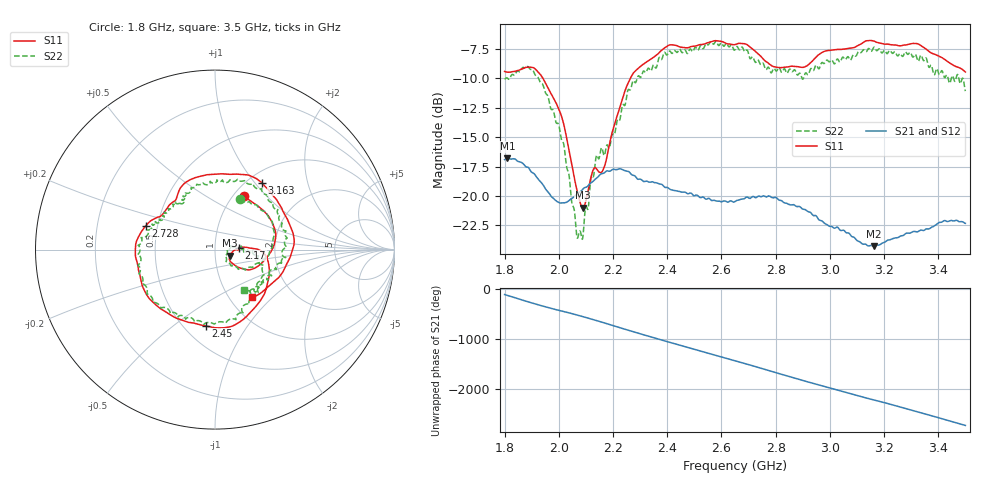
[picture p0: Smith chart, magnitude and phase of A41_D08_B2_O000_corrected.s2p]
! Created with skrf 1.9.0 (http://scikit-rf.org).
# Hz S RI R 50.0
!freq ReS11 ImS11 ReS21 ImS21 ReS12 ImS12 ReS22 ImS22
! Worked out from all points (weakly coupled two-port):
!   1601 points, 1.8 GHz to 3.5 GHz, reference 50 ohm
!   highest |S21| = -16.81 dB at 1.811 GHz (marker M1); lowest = -24.3 dB at 3.162 GHz (marker M2)
!   lowest |S11| = -21.0 dB at 2.089 GHz (marker M3), VSWR 1.20, Z = 58.8 - j4.04 ohm
!   |S11| at or under -10 dB: 1.941 GHz to 2.264 GHz (322.7 MHz wide, 15.3 % of centre)
!   |S22| runs from -23.7 to -6.9 dB; largest |S21 - S12| = 0.0027
!   S11 on the Smith chart (normalised r, x): 1.8 GHz: 1.12, +0.75; 2.17 GHz: 1.31, +0.03; 2.45 GHz: 0.63, -0.66; 2.728 GHz: 0.43, +0.13; 3.163 GHz: 1.15, +1.09; 3.5 GHz: 1.27, -0.76
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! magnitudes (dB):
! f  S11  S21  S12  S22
! 1.8 GHz  -9.4  -16.9  -16.9  -10.1
! 1.811 GHz  -9.5  -16.8  -16.8  -10.0
! 1.886 GHz  -9.1  -17.6  -17.6  -9.0
! 1.942 GHz  -10.0  -19.1  -19.1  -10.6
! 2.011 GHz  -13.3  -20.6  -20.6  -15.3
! 2.066 GHz  -19.4  -19.9  -19.9  -23.3
! 2.084 GHz  -20.9  -19.6  -19.5  -23.5
! 2.089 GHz  -21.0  -19.4  -19.4  -23.4
! 2.137 GHz  -17.6  -18.5  -18.5  -16.8
! 2.17 GHz  -17.4  -18.0  -18.0  -16.5
! 2.26 GHz  -10.2  -18.0  -18.0  -11.0
! 2.367 GHz  -7.9  -18.9  -18.9  -8.4
! 2.45 GHz  -7.4  -19.7  -19.7  -7.7
! 2.65 GHz  -7.1  -20.5  -20.5  -7.6
! 2.728 GHz  -7.8  -20.1  -20.2  -8.6
! 2.802 GHz  -9.1  -20.1  -20.2  -9.4
! 2.934 GHz  -8.6  -21.5  -21.5  -9.2
! 3.162 GHz  -6.8  -24.3  -24.2  -7.4
! 3.163 GHz  -6.8  -24.3  -24.2  -7.4
! 3.217 GHz  -7.1  -23.7  -23.7  -7.7
! 3.325 GHz  -7.1  -23.0  -23.0  -8.5
! 3.5 GHz  -9.5  -22.3  -22.3  -11.1
